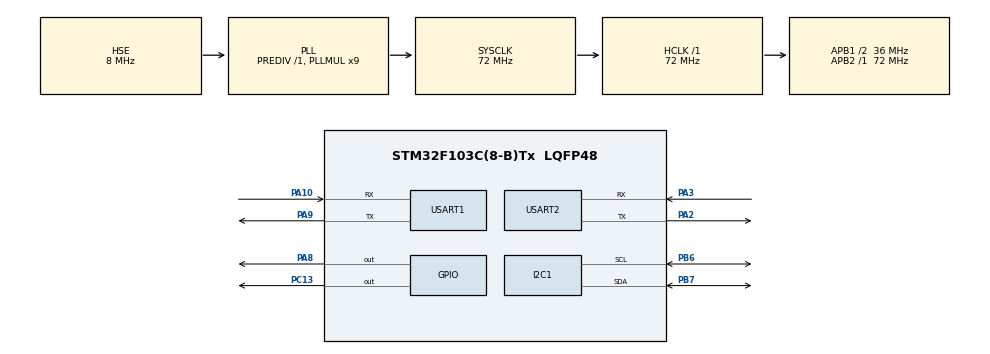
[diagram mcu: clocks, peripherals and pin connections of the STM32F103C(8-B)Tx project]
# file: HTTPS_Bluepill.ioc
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Mcu.Family=STM32F1
Mcu.Name=STM32F103C(8-B)Tx
Mcu.Package=LQFP48
NVIC.PriorityGroup=NVIC_PRIORITYGROUP_4
PA10.Mode=Asynchronous
PA10.Signal=USART1_RX
PA13.Mode=Serial_Wire
PA13.Signal=SYS_JTMS-SWDIO
PA14.Mode=Serial_Wire
PA14.Signal=SYS_JTCK-SWCLK
PA2.Mode=Asynchronous
PA2.Signal=USART2_TX
PA3.Mode=Asynchronous
PA3.Signal=USART2_RX
PA8.Signal=GPIO_Output
PA9.Mode=Asynchronous
PA9.Signal=USART1_TX
PB6.Mode=I2C
PB6.Signal=I2C1_SCL
PB7.Mode=I2C
PB7.Signal=I2C1_SDA
PC13-TAMPER-RTC.Signal=GPIO_Output
PD0-OSC_IN.Mode=HSE-External-Oscillator
PD0-OSC_IN.Signal=RCC_OSC_IN
PD1-OSC_OUT.Mode=HSE-External-Oscillator
PD1-OSC_OUT.Signal=RCC_OSC_OUT
ProjectManager.HeapSize=0x200
ProjectManager.StackSize=0x400
ProjectManager.TargetToolchain=STM32CubeIDE
RCC.AHBFreq_Value=72000000
RCC.APB1CLKDivider=RCC_HCLK_DIV2
RCC.APB1Freq_Value=36000000
RCC.APB1TimFreq_Value=72000000
RCC.APB2Freq_Value=72000000
RCC.APB2TimFreq_Value=72000000
RCC.HCLKFreq_Value=72000000
RCC.PLLMUL=RCC_PLL_MUL9
RCC.PLLSourceVirtual=RCC_PLLSOURCE_HSE
RCC.SYSCLKFreq_VALUE=72000000
RCC.SYSCLKSource=RCC_SYSCLKSOURCE_PLLCLK
RCC.USBFreq_Value=72000000
USART1.VirtualMode=VM_ASYNC
USART2.VirtualMode=VM_ASYNC
board=custom

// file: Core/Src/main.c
/* USER CODE BEGIN Header */
/**
  ******************************************************************************
  * @file           : main.c
  * @brief          : Main program body
  ******************************************************************************
  * @attention
  *
  * Copyright (c) 2025 STMicroelectronics.
  * All rights reserved.
  *
  * This software is licensed under terms that can be found in the LICENSE file
  * in the root directory of this software component.
  * If no LICENSE file comes with this software, it is provided AS-IS.
  *
  ******************************************************************************
  */
/* USER CODE END Header */
#include "main.h"

/* USER CODE BEGIN Includes */
#include <string.h>
#include <stdio.h>
/* USER CODE END Includes */

I2C_HandleTypeDef hi2c1;

UART_HandleTypeDef huart1;
UART_HandleTypeDef huart2;

/* USER CODE BEGIN PV */
/* User-editable variables */
const char apn[] = "safaricom"; // Replace with your SIM provider's APN (e.g., "internet")
/* End user-editable variables */

const uint32_t timeout = 10000; // 10s timeout for AT responses
uint8_t buffer[256] = {0}; // UART receive buffer
uint8_t isConnected = 0; // Connection status flag
/* USER CODE END PV */

void SystemClock_Config(void);
static void MX_GPIO_Init(void);
static void MX_I2C1_Init(void);
static void MX_USART1_UART_Init(void);
static void MX_USART2_UART_Init(void);
/* USER CODE BEGIN PFP */
void SIMTransmit(const char *cmd);
void checkInternetConnection(void);
/* USER CODE END PFP */

/* USER CODE BEGIN 0 */
void SIMTransmit(const char *cmd) {
    memset(buffer, 0, sizeof(buffer)); // Clear buffer
    HAL_UART_Transmit(&huart1, (uint8_t *)cmd, strlen(cmd), 1000);
    HAL_UART_Transmit(&huart1, (uint8_t *)"\r\n", 2, 1000);
    HAL_UART_Receive(&huart1, buffer, sizeof(buffer), 1000); // Read response
}

void checkInternetConnection(void) {
    uint8_t atOK = 0, cgregOK = 0, pdpOK = 0;
    uint32_t startTick;
    char atCmd[80];

    // Step 1: Power on A7670G (pull PWRKEY low for 1.5s)
    HAL_GPIO_WritePin(GPIOA, GPIO_PIN_8, GPIO_PIN_SET); // Release
    HAL_Delay(1000);
    HAL_GPIO_WritePin(GPIOA, GPIO_PIN_8, GPIO_PIN_RESET); // PWRKEY low
    HAL_Delay(1500);
    HAL_GPIO_WritePin(GPIOA, GPIO_PIN_8, GPIO_PIN_SET); // Release
    HAL_Delay(150000); // Wait for module to boot

    // Step 2: Test AT command
    startTick = HAL_GetTick();
    while (!atOK && (HAL_GetTick() - startTick < timeout)) {
        SIMTransmit("AT");
        HAL_UART_Transmit(&huart2, (uint8_t *)"AT: ", 4, 1000); // Debug to UART2
	    HAL_UART_Transmit(&huart2, buffer, strlen((char *)buffer), 1000);
		HAL_UART_Transmit(&huart2, (uint8_t *)"\r\n", 2, 1000);
        if (strstr((char *)buffer, "OK")) {
            atOK = 1;
        }
        HAL_Delay(2000);
    }

    // Step 3: Check SIM status
        if (atOK) {
            startTick = HAL_GetTick();
            while (!cgregOK && (HAL_GetTick() - startTick < timeout)) {
                SIMTransmit("AT+CPIN?");
                HAL_UART_Transmit(&huart2, (uint8_t *)"CPIN: ", 6, 1000);
                HAL_UART_Transmit(&huart2, buffer, strlen((char *)buffer), 1000);
                HAL_UART_Transmit(&huart2, (uint8_t *)"\r\n", 2, 1000);
                if (strstr((char *)buffer, "+CPIN: READY")) {
                    cgregOK = 1;
                }
                HAL_Delay(500);
            }
        }

        // Step 4: Check network registration
        if (cgregOK) {
            startTick = HAL_GetTick();
            while (!pdpOK && (HAL_GetTick() - startTick < timeout)) {
                SIMTransmit("AT+CEREG?");
                HAL_UART_Transmit(&huart2, (uint8_t *)"CEREG: ", 7, 1000);
                HAL_UART_Transmit(&huart2, buffer, strlen((char *)buffer), 1000);
                HAL_UART_Transmit(&huart2, (uint8_t *)"\r\n", 2, 1000);
                if (strstr((char *)buffer, "+CEREG: 0,1") || strstr((char *)buffer, "+CEREG: 0,5")) {
                    pdpOK = 1;
                }
                HAL_Delay(500);
            }
        }

        // Step 5: Set APN and activate PDP context
        if (pdpOK) {
            sprintf(atCmd, "AT+CGDCONT=1,\"IP\",\"%s\"", apn);
            SIMTransmit(atCmd);
            HAL_UART_Transmit(&huart2, (uint8_t *)"CGDCONT: ", 9, 1000);
            HAL_UART_Transmit(&huart2, buffer, strlen((char *)buffer), 1000);
            HAL_UART_Transmit(&huart2, (uint8_t *)"\r\n", 2, 1000);
            HAL_Delay(500);
            SIMTransmit("AT+CGACT=1,1");
            HAL_UART_Transmit(&huart2, (uint8_t *)"CGACT: ", 7, 1000);
            HAL_UART_Transmit(&huart2, buffer, strlen((char *)buffer), 1000);
            HAL_UART_Transmit(&huart2, (uint8_t *)"\r\n", 2, 1000);
            HAL_Delay(2000);
        }

        // Step 6: Check IP address (connection status)
        if (pdpOK) {
            SIMTransmit("AT+CGPADDR=1");
            HAL_UART_Transmit(&huart2, (uint8_t *)"CGPADDR: ", 9, 1000);
            HAL_UART_Transmit(&huart2, buffer, strlen((char *)buffer), 1000);
            HAL_UART_Transmit(&huart2, (uint8_t *)"\r\n", 2, 1000);
            if (strstr((char *)buffer, "+CGPADDR: 1,")) {
                isConnected = 1;
            }
        }

        // Step 7: Output final status to UART2
        if (isConnected) {
            HAL_UART_Transmit(&huart2, (uint8_t *)"Connected! IP: ", 15, 1000);
            HAL_UART_Transmit(&huart2, buffer, strlen((char *)buffer), 1000);
            HAL_UART_Transmit(&huart2, (uint8_t *)"\r\n", 2, 1000);
            HAL_GPIO_WritePin(GPIOC, GPIO_PIN_13, GPIO_PIN_RESET); // LED ON
        } else {
            HAL_UART_Transmit(&huart2, (uint8_t *)"Connection failed\r\n", 19, 1000);
            HAL_GPIO_WritePin(GPIOC, GPIO_PIN_13, GPIO_PIN_SET); // LED OFF
        }
    }
/* USER CODE END 0 */

int main(void)
{

  /* MCU Configuration--------------------------------------------------------*/

  /* Reset of all peripherals, Initializes the Flash interface and the Systick. */
  HAL_Init();

  /* Configure the system clock */
  SystemClock_Config();

  /* Initialize all configured peripherals */
  MX_GPIO_Init();
  MX_I2C1_Init();
  MX_USART1_UART_Init();
  MX_USART2_UART_Init();
  /* USER CODE BEGIN 2 */
  checkInternetConnection();
  /* USER CODE END 2 */

  /* Infinite loop */
  /* USER CODE BEGIN WHILE */
  while (1)
  {
	  // Optionally repeat status check or add other tasks
	      HAL_Delay(10000); // Check every 10s (adjust as needed)
	      checkInternetConnection();
    /* USER CODE END WHILE */

  }
}

void SystemClock_Config(void)
{
  RCC_OscInitTypeDef RCC_OscInitStruct = {0};
  RCC_ClkInitTypeDef RCC_ClkInitStruct = {0};

  /** Initializes the RCC Oscillators according to the specified parameters
  * in the RCC_OscInitTypeDef structure.
  */
  RCC_OscInitStruct.OscillatorType = RCC_OSCILLATORTYPE_HSE;
  RCC_OscInitStruct.HSEState = RCC_HSE_ON;
  RCC_OscInitStruct.HSEPredivValue = RCC_HSE_PREDIV_DIV1;
  RCC_OscInitStruct.HSIState = RCC_HSI_ON;
  RCC_OscInitStruct.PLL.PLLState = RCC_PLL_ON;
  RCC_OscInitStruct.PLL.PLLSource = RCC_PLLSOURCE_HSE;
  RCC_OscInitStruct.PLL.PLLMUL = RCC_PLL_MUL9;
  if (HAL_RCC_OscConfig(&RCC_OscInitStruct) != HAL_OK)
  {
    Error_Handler();
  }

  /** Initializes the CPU, AHB and APB buses clocks
  */
  RCC_ClkInitStruct.ClockType = RCC_CLOCKTYPE_HCLK|RCC_CLOCKTYPE_SYSCLK
                              |RCC_CLOCKTYPE_PCLK1|RCC_CLOCKTYPE_PCLK2;
  RCC_ClkInitStruct.SYSCLKSource = RCC_SYSCLKSOURCE_PLLCLK;
  RCC_ClkInitStruct.AHBCLKDivider = RCC_SYSCLK_DIV1;
  RCC_ClkInitStruct.APB1CLKDivider = RCC_HCLK_DIV2;
  RCC_ClkInitStruct.APB2CLKDivider = RCC_HCLK_DIV1;

  if (HAL_RCC_ClockConfig(&RCC_ClkInitStruct, FLASH_LATENCY_2) != HAL_OK)
  {
    Error_Handler();
  }
}

static void MX_I2C1_Init(void)
{

  hi2c1.Instance = I2C1;
  hi2c1.Init.ClockSpeed = 100000;
  hi2c1.Init.DutyCycle = I2C_DUTYCYCLE_2;
  hi2c1.Init.OwnAddress1 = 0;
  hi2c1.Init.AddressingMode = I2C_ADDRESSINGMODE_7BIT;
  hi2c1.Init.DualAddressMode = I2C_DUALADDRESS_DISABLE;
  hi2c1.Init.OwnAddress2 = 0;
  hi2c1.Init.GeneralCallMode = I2C_GENERALCALL_DISABLE;
  hi2c1.Init.NoStretchMode = I2C_NOSTRETCH_DISABLE;
  if (HAL_I2C_Init(&hi2c1) != HAL_OK)
  {
    Error_Handler();
  }

}

static void MX_USART1_UART_Init(void)
{

  huart1.Instance = USART1;
  huart1.Init.BaudRate = 115200;
  huart1.Init.WordLength = UART_WORDLENGTH_8B;
  huart1.Init.StopBits = UART_STOPBITS_1;
  huart1.Init.Parity = UART_PARITY_NONE;
  huart1.Init.Mode = UART_MODE_TX_RX;
  huart1.Init.HwFlowCtl = UART_HWCONTROL_NONE;
  huart1.Init.OverSampling = UART_OVERSAMPLING_16;
  if (HAL_UART_Init(&huart1) != HAL_OK)
  {
    Error_Handler();
  }

}

static void MX_USART2_UART_Init(void)
{

  huart2.Instance = USART2;
  huart2.Init.BaudRate = 115200;
  huart2.Init.WordLength = UART_WORDLENGTH_8B;
  huart2.Init.StopBits = UART_STOPBITS_1;
  huart2.Init.Parity = UART_PARITY_NONE;
  huart2.Init.Mode = UART_MODE_TX_RX;
  huart2.Init.HwFlowCtl = UART_HWCONTROL_NONE;
  huart2.Init.OverSampling = UART_OVERSAMPLING_16;
  if (HAL_UART_Init(&huart2) != HAL_OK)
  {
    Error_Handler();
  }

}

static void MX_GPIO_Init(void)
{
  GPIO_InitTypeDef GPIO_InitStruct = {0};

  /* GPIO Ports Clock Enable */
  __HAL_RCC_GPIOC_CLK_ENABLE();
  __HAL_RCC_GPIOD_CLK_ENABLE();
  __HAL_RCC_GPIOA_CLK_ENABLE();
  __HAL_RCC_GPIOB_CLK_ENABLE();

  /*Configure GPIO pin Output Level */
  HAL_GPIO_WritePin(GPIOC, GPIO_PIN_13, GPIO_PIN_RESET);

  /*Configure GPIO pin Output Level */
  HAL_GPIO_WritePin(GPIOA, GPIO_PIN_8, GPIO_PIN_RESET);

  /*Configure GPIO pin : PC13 */
  GPIO_InitStruct.Pin = GPIO_PIN_13;
  GPIO_InitStruct.Mode = GPIO_MODE_OUTPUT_PP;
  GPIO_InitStruct.Pull = GPIO_NOPULL;
  GPIO_InitStruct.Speed = GPIO_SPEED_FREQ_LOW;
  HAL_GPIO_Init(GPIOC, &GPIO_InitStruct);

  /*Configure GPIO pin : PA8 */
  GPIO_InitStruct.Pin = GPIO_PIN_8;
  GPIO_InitStruct.Mode = GPIO_MODE_OUTPUT_PP;
  GPIO_InitStruct.Pull = GPIO_NOPULL;
  GPIO_InitStruct.Speed = GPIO_SPEED_FREQ_LOW;
  HAL_GPIO_Init(GPIOA, &GPIO_InitStruct);

}

void Error_Handler(void)
{
  __disable_irq();
  while (1)
  {
  }
}
